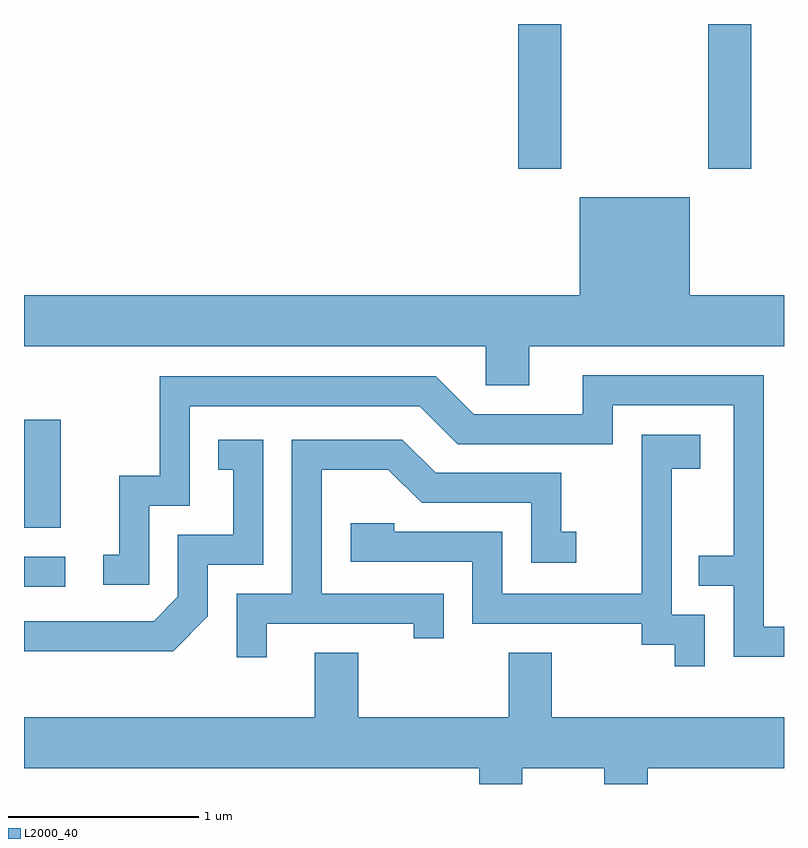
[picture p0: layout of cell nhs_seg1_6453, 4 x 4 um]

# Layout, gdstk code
import gdstk
lib = gdstk.Library(unit=1e-6, precision=1e-09)
def R(c, l, rs):  # rectangles x0, y0, x1, y1
    for r in rs: c.add(gdstk.rectangle(r[:2], r[2:], *l))
def P(c, l, *ps):  # polygons
    for p in ps: c.add(gdstk.Polygon(p, *l))
L2000_40 = (2000, 40)

nhs_seg1_6453 = lib.new_cell('nhs_seg1_6453')
R(nhs_seg1_6453, L2000_40, [(379.611,902.751,379.828,902.909), (379.611,903.061,379.804,903.629), (382.211,904.951,382.439,905.712), (383.211,904.951,383.439,905.712)])
P(nhs_seg1_6453, L2000_40, [(383.611,904.284),(383.114,904.284),(383.114,904.799),(382.536,904.799),(382.536,904.284),(379.611,904.284),(379.611,904.016),(382.041,904.016),(382.041,903.811),(382.269,903.811),(382.269,904.016),(383.611,904.016)],
  [(383.611,902.539),(383.504,902.539),(383.504,903.864),(382.551,903.864),(382.551,903.659),(381.977,903.659),(381.777,903.859),(380.326,903.859),(380.326,903.334),(380.111,903.334),(380.111,902.919),(380.028,902.919),(380.028,902.761),(380.269,902.761),(380.269,903.176),(380.484,903.176),(380.484,903.701),(381.694,903.701),(381.894,903.501),(382.709,903.501),(382.709,903.706),(383.346,903.706),(383.346,902.914),(383.163,902.914),(383.163,902.756),(383.346,902.756),(383.346,902.381),(383.611,902.381)],
  [(383.194,902.604),(383.019,902.604),(383.019,903.371),(383.169,903.371),(383.169,903.549),(382.861,903.549),(382.861,902.714),(382.129,902.714),(382.129,903.039),(381.559,903.039),(381.559,903.084),(381.331,903.084),(381.331,902.881),(381.971,902.881),(381.971,902.556),(382.861,902.556),(382.861,902.446),(383.036,902.446),(383.036,902.333),(383.194,902.333)],
  [(380.579,902.594),(380.579,902.866),(380.869,902.866),(380.869,903.524),(380.633,903.524),(380.633,903.366),(380.711,903.366),(380.711,903.024),(380.421,903.024),(380.421,902.697),(380.294,902.569),(379.611,902.569),(379.611,902.411),(380.397,902.411)],
  [(380.889,902.556),(381.661,902.556),(381.661,902.478),(381.819,902.478),(381.819,902.714),(381.179,902.714),(381.179,903.366),(381.529,903.366),(381.704,903.191),(382.281,903.191),(382.281,902.876),(382.518,902.876),(382.518,903.039),(382.439,903.039),(382.439,903.349),(381.777,903.349),(381.602,903.524),(381.021,903.524),(381.021,902.714),(380.731,902.714),(380.731,902.378),(380.889,902.378)],
  [(382.234,901.796),(382.666,901.796),(382.666,901.712),(382.894,901.712),(382.894,901.796),(383.611,901.796),(383.611,902.064),(382.389,902.064),(382.389,902.404),(382.161,902.404),(382.161,902.064),(381.369,902.064),(381.369,902.404),(381.141,902.404),(381.141,902.064),(379.611,902.064),(379.611,901.796),(382.006,901.796),(382.006,901.712),(382.234,901.712)])

lib.write_gds('nhs_seg1_6453.gds')
